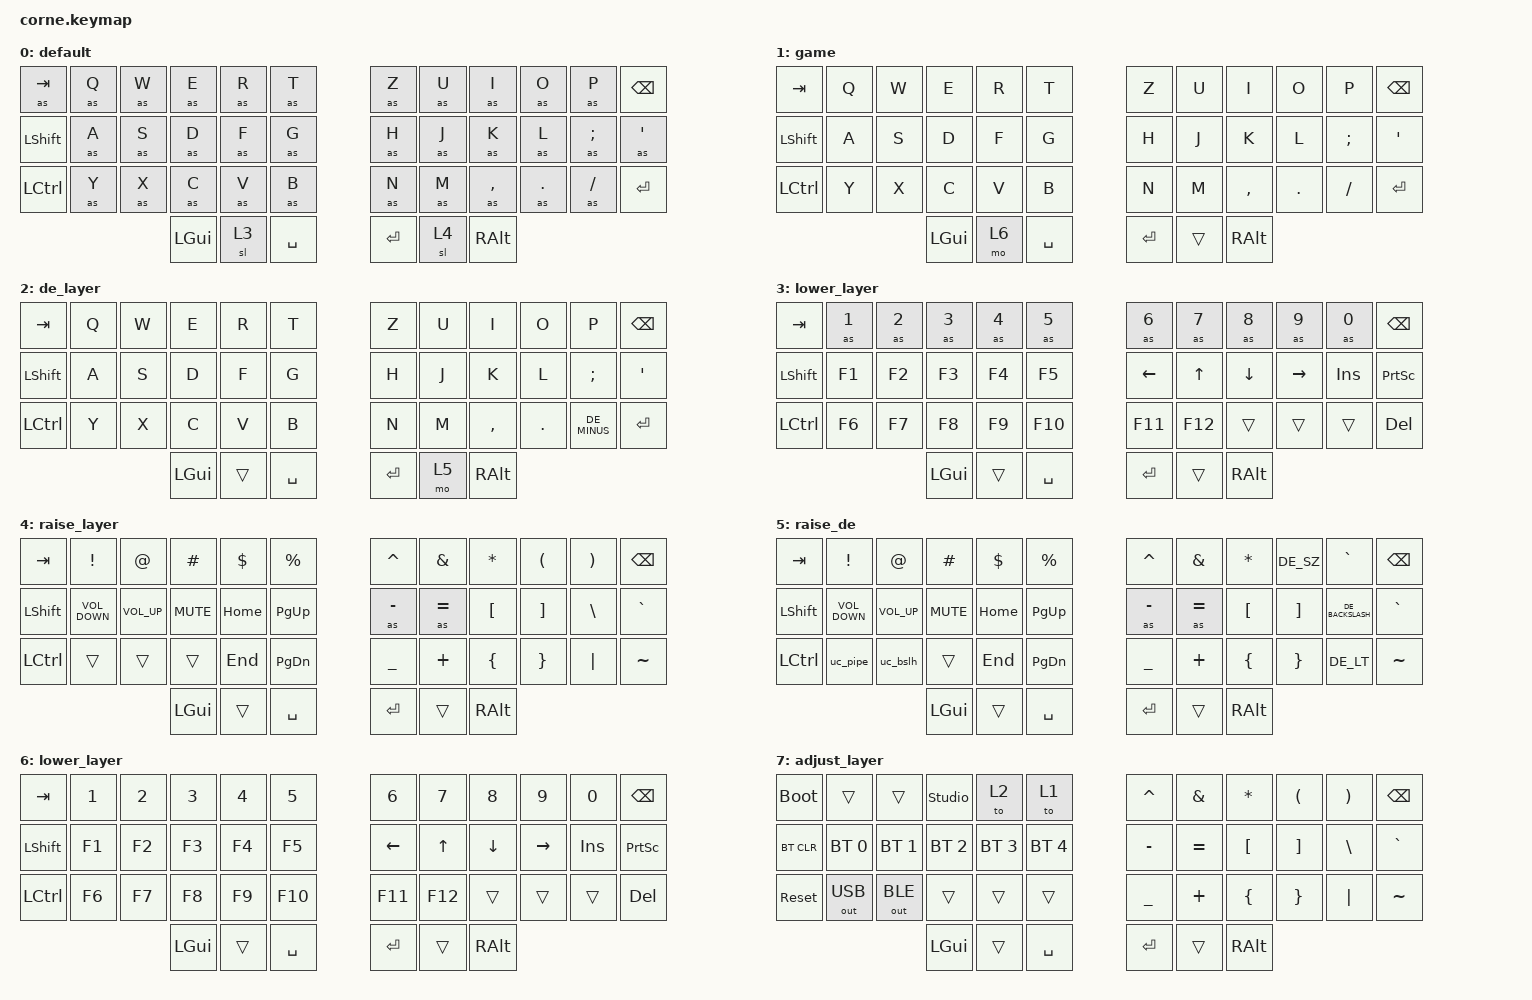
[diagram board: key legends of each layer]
/*
 * Copyright (c) 2020 The ZMK Contributors
 *
 * SPDX-License-Identifier: MIT
 */

#include "keys_de.h"
#include <behaviors.dtsi>
#include <dt-bindings/zmk/bt.h>
#include <dt-bindings/zmk/keys.h>
#include <dt-bindings/zmk/outputs.h>
#include "unicode.h"

// Set your default OS strategy (choose ONE of these):
// #define ZMK_UNICODE_HOST_OS OS_LINUX   // For Linux / IBus
// #define ZMK_UNICODE_HOST_OS OS_MAC     // For macOS (Unicode Hex Input)
#define ZMK_UNICODE_HOST_OS OS_WIN     // For Windows

#define DEFAULT 0
#define GAME 1
#define DE 2
#define RAISE 3
#define LOWER 4
#define RAISE_DE 5
#define ADJUST 6

&sl { release-after-ms = <2000>; };

/ {
    behaviors {
        as_ht: autoshift_hold_tap {
            compatible = "zmk,behavior-hold-tap";
            label = "AUTOSHIFT_HOLD_TAP";
            #binding-cells = <2>;
            tapping-term-ms = <200>;
            bindings = <&shifted>, <&kp>;

            quick-tap-ms = <200>;
            require-prior-idle-ms = <125>;
            flavor = "tap-preferred";
        };

        hw_soft_off: hw_soft_off {
            compatible = "zmk,behavior-soft-off";
            label = "HW_SOFT_OFF";
            #binding-cells = <0>;
            hold-time-ms = <2000>;
            split-peripheral-off-on-press;
        };
    };

    macros {
        shifted: macro_shifted_kp {
            #binding-cells = <1>;
            label = "MACRO_SHIFTED_KP";
            compatible = "zmk,behavior-macro-one-param";
            bindings =
                <&macro_press>,
                <&kp LSHFT &macro_param_1to1>,
                <&macro_tap>,
                <&kp MACRO_PLACEHOLDER>,
                <&macro_release>,
                <&kp LSHFT>;
        };

        as: autoshift {
            compatible = "zmk,behavior-macro-one-param";
            #binding-cells = <1>;
            label = "AUTOSHIFT_KP";
            bindings =
                <&macro_press>,
                <&macro_param_1to1 &macro_param_1to2 &as_ht MACRO_PLACEHOLDER MACRO_PLACEHOLDER>,
                <&macro_pause_for_release>,
                <&macro_release>,
                <&macro_param_1to1 &macro_param_1to2 &as_ht MACRO_PLACEHOLDER MACRO_PLACEHOLDER>;
        };

        ctrl_alt_del: ctrl_alt_del {
            compatible = "zmk,behavior-macro";
            #binding-cells = <0>;
            bindings = <&kp LCTRL &kp LALT &kp DEL>;
            label = "CTRL_ALT_DEL";
        };

        // Backslash: \ (U+005C)
        UC_WIN(uc_bslh, KP_N0, KP_N0, KP_N5, C)

        // Pipe: | (U+007C)
        UC_WIN(uc_pipe, KP_N0, KP_N0, KP_N7, C)
        
    };

    keymap {
        compatible = "zmk,keymap";

        default_layer {
            display-name = "default";

            // -----------------------------------------------------------------------------------------
            // |  TAB |  Q  |  W  |  E  |  R  |  T  |   |  Z  |  U   |  I  |  O  |  P  | BKSP |
            // | SHFT |  A  |  S  |  D  |  F  |  G  |   |  H  |  J   |  K  |  L  |  ;  |  '   |
            // | CTRL |  Y  |  X  |  C  |  V  |  B  |   |  N  |  M   |  ,  |  .  |  /  | ESC  |
            //                    | GUI | LWR | SPC |   | ENT | RSE  | ALT |

            bindings = <
&as TAB    &as Q  &as W  &as E     &as R  &as T        &as Z    &as U  &as I      &as O    &as P     &kp BSPC
&kp LSHFT  &as A  &as S  &as D     &as F  &as G        &as H    &as J  &as K      &as L    &as SEMI  &as SQT
&kp LCTRL  &as Y  &as X  &as C     &as V  &as B        &as N    &as M  &as COMMA  &as DOT  &as FSLH  &kp RET
                         &kp LGUI  &sl 3  &kp SPACE    &kp RET  &sl 4  &kp RALT
            >;
        };

        game {
            display-name = "game";
            bindings = <
&kp TAB    &kp Q  &kp W  &kp E     &kp R  &kp T        &kp Z    &kp U   &kp I      &kp O    &kp P     &kp BSPC
&kp LSHFT  &kp A  &kp S  &kp D     &kp F  &kp G        &kp H    &kp J   &kp K      &kp L    &kp SEMI  &kp SQT
&kp LCTRL  &kp Y  &kp X  &kp C     &kp V  &kp B        &kp N    &kp M   &kp COMMA  &kp DOT  &kp FSLH  &kp RET
                         &kp LGUI  &mo 6  &kp SPACE    &kp RET  &trans  &kp RALT
            >;
        };

        de_layer {
            display-name = "de_layer";
            bindings = <
&kp TAB         &kp Q  &kp W  &kp E     &kp R   &kp T        &kp Z    &kp U  &kp I      &kp O    &kp P         &kp BSPC
&kp LEFT_SHIFT  &kp A  &kp S  &kp D     &kp F   &kp G        &kp H    &kp J  &kp K      &kp L    &kp SEMI      &kp APOS
&kp LCTRL       &kp Y  &kp X  &kp C     &kp V   &kp B        &kp N    &kp M  &kp COMMA  &kp DOT  &kp DE_MINUS  &kp RET
                              &kp LGUI  &trans  &kp SPACE    &kp RET  &mo 5  &kp RALT
            >;
        };

        lower_layer {
            display-name = "lower_layer";

            // -----------------------------------------------------------------------------------------
            // |  TAB |  1  |  2  |  3  |  4  |  5  |   |  6  |  7  |  8  |  9  |  0  | BKSP |
            // | BTCLR| BT1 | BT2 | BT3 | BT4 | BT5 |   | LFT | UP |  DWN | RGT |     |      |
            // | CTRL |     |     |     |     |     |   |     |     |     |     |     |      |
            //                    | GUI |     | SPC |   | ENT |     | ALT |

            bindings = <
&kp TAB         &as N1  &as N2  &as N3    &as N4  &as N5       &as N6    &as N7   &as N8    &as N9     &as N0      &kp BSPC
&kp LEFT_SHIFT  &kp F1  &kp F2  &kp F3    &kp F4  &kp F5       &kp LEFT  &kp UP   &kp DOWN  &kp RIGHT  &kp INSERT  &kp PRINTSCREEN
&kp LCTRL       &kp F6  &kp F7  &kp F8    &kp F9  &kp F10      &kp F11   &kp F12  &trans    &trans     &trans      &kp DEL
                                &kp LGUI  &trans  &kp SPACE    &kp RET   &trans   &kp RALT
            >;
        };

        raise_layer {
            display-name = "raise_layer";

            // -----------------------------------------------------------------------------------------
            // |  TAB |  !  |  @  |  #  |  $  |  %  |   |  ^  |  &  |  *  |  (  |  )  | BKSP |
            // | SHFT |     |     |     |     |     |   |  -  |  =  |  [  |  ]  |  \  |  `   |
            // | CTRL |     |     |     |     |     |   |  _  |  +  |  {  |  }  | "|" |  ~   |
            //                    | GUI |     | SPC |   | ENT |     | ALT |

            bindings = <
&kp TAB    &kp EXCL           &kp AT           &kp HASH    &kp DLLR  &kp PRCNT        &kp CARET  &kp AMPS   &kp ASTRK  &kp LPAR  &kp RPAR  &kp BSPC
&kp LSHFT  &kp C_VOLUME_DOWN  &kp C_VOLUME_UP  &kp C_MUTE  &kp HOME  &kp PAGE_UP      &as MINUS  &as EQUAL  &kp LBKT   &kp RBKT  &kp BSLH  &kp GRAVE
&kp LCTRL  &trans             &trans           &trans      &kp END   &kp PAGE_DOWN    &kp UNDER  &kp PLUS   &kp LBRC   &kp RBRC  &kp PIPE  &kp TILDE
                                               &kp LGUI    &trans    &kp SPACE        &kp RET    &trans     &kp RALT
            >;
        };

        raise_de {
            display-name = "raise_de";
            bindings = <
&kp TAB    &kp EXCL           &kp AT           &kp HASH    &kp DLLR  &kp PRCNT        &kp CARET  &kp AMPS   &kp ASTRK  &kp DE_SZ  &kp GRAVE         &kp BSPC
&kp LSHFT  &kp C_VOLUME_DOWN  &kp C_VOLUME_UP  &kp C_MUTE  &kp HOME  &kp PAGE_UP      &as MINUS  &as EQUAL  &kp LBKT   &kp RBKT   &kp DE_BACKSLASH  &kp GRAVE
&kp LCTRL  &uc_pipe       &uc_bslh           &trans      &kp END   &kp PAGE_DOWN    &kp UNDER  &kp PLUS   &kp LBRC   &kp RBRC   &kp DE_LT         &kp TILDE
                                               &kp LGUI    &trans    &kp SPACE        &kp RET    &trans     &kp RALT
            >;
        };

        lower_game {
            display-name = "lower_layer";
            bindings = <
&kp TAB         &kp N1  &kp N2  &kp N3    &kp N4  &kp N5       &kp N6    &kp N7   &kp N8    &kp N9     &kp N0      &kp BSPC
&kp LEFT_SHIFT  &kp F1  &kp F2  &kp F3    &kp F4  &kp F5       &kp LEFT  &kp UP   &kp DOWN  &kp RIGHT  &kp INSERT  &kp PRINTSCREEN
&kp LCTRL       &kp F6  &kp F7  &kp F8    &kp F9  &kp F10      &kp F11   &kp F12  &trans    &trans     &trans      &kp DEL
                                &kp LGUI  &trans  &kp SPACE    &kp RET   &trans   &kp RALT
            >;

            label = "lower_game";
        };

        adjust_layer {
            display-name = "adjust_layer";

            // -----------------------------------------------------------------------------------------
            // |  Boot |  !  |  @  |  #  |  $  |  %  |   |  ^  |  &  |  *  |  (  |  )  | BKSP |
            // | SHFT |     |     |     |     |     |   |  -  |  =  |  [  |  ]  |  \  |  `   |
            // | CTRL |     |     |     |     |     |   |  _  |  +  |  {  |  }  | "|" |  ~   |
            //                    | GUI |     | SPC |   | ENT |     | ALT |

            bindings = <
&bootloader  &trans        &trans        &studio_unlock  &to 2         &to 1           &kp CARET  &kp AMPS   &kp ASTRK  &kp LPAR  &kp RPAR  &kp BSPC
&bt BT_CLR   &bt BT_SEL 0  &bt BT_SEL 1  &bt BT_SEL 2    &bt BT_SEL 3  &bt BT_SEL 4    &kp MINUS  &kp EQUAL  &kp LBKT   &kp RBKT  &kp BSLH  &kp GRAVE
&sys_reset   &out OUT_USB  &out OUT_BLE  &trans          &trans        &trans          &kp UNDER  &kp PLUS   &kp LBRC   &kp RBRC  &kp PIPE  &kp TILDE
                                         &kp LGUI        &trans        &kp SPACE       &kp RET    &trans     &kp RALT
            >;
        };
    };
};

/ {
    combos {
        compatible = "zmk,combos";

        combo_esc {
            timeout-ms = <50>;
            key-positions = <0 1>;
            bindings = <&kp ESC>;
            require-prior-idle-ms = <125>;
        };

        combo_Pipe {
            bindings = <&kp PIPE>;
            key-positions = <33 34>;
            require-prior-idle-ms = <125>;
        };

        a_left {
            bindings = <&kp LEFT>;
            key-positions = <22 21>;
        };

        a_right {
            bindings = <&kp RIGHT>;
            key-positions = <22 23>;
        };

        a_up {
            bindings = <&kp UP_ARROW>;
            key-positions = <10 22>;
        };

        a_down {
            bindings = <&kp DOWN>;
            key-positions = <22 34>;
        };

        a_alt {
            bindings = <&kp LEFT_ALT>;
            key-positions = <25 26>;
        };

        a_lbrc {
            bindings = <&kp LEFT_BRACKET>;
            key-positions = <19 20>;
            require-prior-idle-ms = <200>;
            timeout-ms = <50>;
        };

        a_rbrc {
            bindings = <&kp RIGHT_BRACKET>;
            key-positions = <20 21>;
            require-prior-idle-ms = <200>;
            timeout-ms = <50>;
        };

        a_caps {
            bindings = <&kp CAPSLOCK>;
            key-positions = <29 28 27>;
            require-prior-idle-ms = <125>;
        };

        exitgame {
            bindings = <&to 0>;
            key-positions = <13 14 15>;
            require-prior-idle-ms = <125>;
        };

        de_pipe {
            bindings = <&kp DE_PIPE>;
            key-positions = <24 33 34>;
        };

        leftalt {
            bindings = <&kp LEFT_ALT>;
            key-positions = <12 36>;
        };

        soft_off {
            bindings = <&hw_soft_off>;
            key-positions = <24 29 10>;
        };

        ctrlaltdel {
            bindings = <&kp LEFT_ALT>;
            key-positions = <12 36>;
        };
    };
};

/ {
    conditional_layers {
        compatible = "zmk,conditional-layers";

        tri_layer {
            if-layers = <3 4>;
            then-layer = <7>;
        };
    };
};
